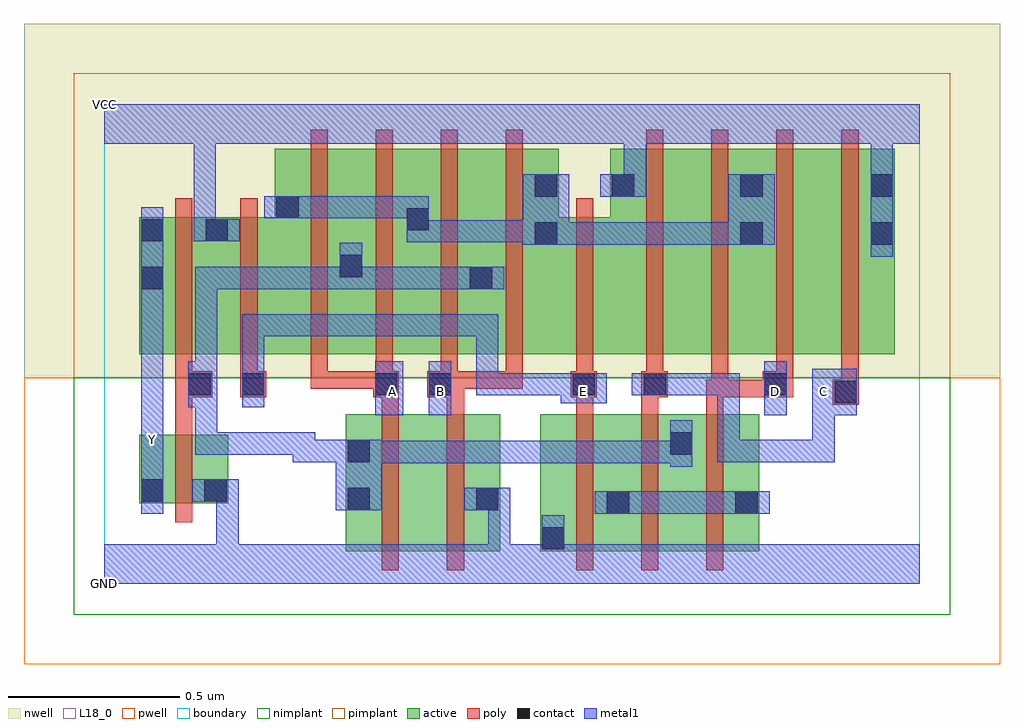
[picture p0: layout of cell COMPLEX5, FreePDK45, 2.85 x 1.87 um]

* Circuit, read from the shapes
.subckt COMPLEX5 A B C D E GND VCC Y
M1 GND n1 Y VSUBS nfet w=0.2u l=0.05u
M2 n2 A n1 VSUBS nfet w=0.4u l=0.05u
M3 GND B n2 VSUBS nfet w=0.4u l=0.05u
M4 n3 E GND VSUBS nfet w=0.4u l=0.05u
M5 n1 C n3 VSUBS nfet w=0.4u l=0.05u
M6 n3 D n1 VSUBS nfet w=0.4u l=0.05u
M7 VCC n1 Y n4 pfet w=0.4u l=0.05u
M8 n5 E VCC n4 pfet w=0.4u l=0.05u m=2
M9 n1 A n5 n4 pfet w=0.6u l=0.05u m=2
M10 n1 B n5 n4 pfet w=0.6u l=0.05u m=2
M11 n6 C VCC n4 pfet w=0.6u l=0.05u
M12 n5 D n6 n4 pfet w=0.6u l=0.05u
M13 n7 D n5 n4 pfet w=0.6u l=0.05u
M14 VCC C n7 n4 pfet w=0.6u l=0.05u
.ends

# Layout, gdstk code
import gdstk
lib = gdstk.Library(unit=1e-6, precision=1e-09)
def R(c, l, rs):  # rectangles x0, y0, x1, y1
    for r in rs: c.add(gdstk.rectangle(r[:2], r[2:], *l))
def A(c, l, x, y, w, h, nx, ny, dx, dy):  # array of equal rectangles
    R(c, l, [(x+i*dx, y+j*dy, x+i*dx+w, y+j*dy+h) for i in range(nx) for j in range(ny)])
active = (1, 0)
pwell = (2, 0)
nwell = (3, 0)
nimplant = (4, 0)
pimplant = (5, 0)
poly = (9, 0)
contact = (10, 0)
metal1 = (11, 0)
L18_0 = (18, 0)
boundary = (235, 0)

complex5 = lib.new_cell('COMPLEX5')
R(complex5, active, [(0.705,0.095,0.93,0.495), (0.93,0.095,1.155,0.495), (1.08,0.095,1.155,0.477), (1.272,0.095,1.537,0.495), (1.272,0.095,1.347,0.495), (1.462,0.095,1.722,0.495), (1.647,0.095,1.912,0.495), (0.705,0.147,0.81,0.495), (1.462,0.147,1.537,0.492), (1.647,0.147,1.722,0.492), (1.837,0.147,1.912,0.495), (0.102,0.235,0.177,0.435), (0.102,0.235,0.362,0.435), (0.287,0.235,0.362,0.435), (0.102,0.67,0.177,1.07), (0.102,0.67,0.365,1.07), (0.29,0.67,0.572,1.07), (0.497,0.67,0.757,1.27), (0.682,0.67,0.952,1.27), (0.877,0.67,1.137,1.27), (1.062,0.67,1.327,1.27), (1.252,0.67,1.552,1.07), (1.477,0.67,1.702,1.27), (1.702,0.67,1.927,1.27), (1.852,0.67,2.082,1.27), (2.082,0.67,2.307,1.27), (2.232,0.67,2.307,1.257), (0.682,0.707,0.757,1.07), (0.877,0.707,0.952,1.2), (1.062,0.707,1.137,1.07), (1.852,0.707,1.927,1.2), (1.477,0.802,1.552,1.27), (0.29,0.907,0.365,1.07), (0.497,0.907,0.572,1.2), (1.252,0.907,1.327,1.2)])
R(complex5, pwell, [(-0.235,-0.235,2.615,0.602)])
R(complex5, nwell, [(-0.235,0.602,2.615,1.635)])
R(complex5, nimplant, [(-0.09,-0.09,2.47,0.602)])
R(complex5, pimplant, [(-0.09,0.602,2.47,1.49)])
A(complex5, poly, 1.377, 0.04, 0.05, 0.51, 3, 1, 0.19, 0)
A(complex5, poly, 1.377, 0.5, 0.05, 0.095, 3, 1, 0.19, 0)
A(complex5, poly, 0.602, 0.57, 0.05, 0.095, 4, 1, 0.19, 0)
A(complex5, poly, 0.602, 0.615, 0.05, 0.71, 4, 1, 0.19, 0)
A(complex5, poly, 1.582, 0.615, 0.05, 0.71, 4, 1, 0.19, 0)
R(complex5, poly, [(0.81,0.04,0.86,0.55), (1,0.04,1.05,0.55), (0.207,0.18,0.257,0.49), (0.207,0.44,0.257,0.595), (0.81,0.5,0.86,0.595), (1,0.5,1.05,0.595), (2.127,0.522,2.202,0.597), (0.207,0.545,0.315,0.62), (0.397,0.545,0.472,0.62), (0.785,0.545,0.86,0.62), (0.942,0.545,1.05,0.62), (1.362,0.545,1.437,0.62), (1.567,0.545,1.645,0.62), (1.757,0.545,1.822,0.595), (1.772,0.545,1.972,0.595), (1.772,0.545,1.822,0.665), (1.922,0.545,1.972,0.595), (1.922,0.545,1.972,0.595), (1.922,0.545,2.012,0.62), (2.152,0.547,2.202,0.665), (0.207,0.57,0.257,0.665), (0.397,0.57,0.447,0.665), (0.602,0.57,0.652,0.62), (0.602,0.57,0.652,0.62), (0.602,0.57,0.652,0.62), (0.602,0.57,0.835,0.62), (1,0.57,1.05,0.62), (1,0.57,1.05,0.62), (1,0.57,1.222,0.62), (1.172,0.57,1.222,0.62), (1.377,0.57,1.427,0.665), (1.582,0.57,1.632,0.665), (1.962,0.57,2.012,0.665), (0.207,0.615,0.257,1.125), (0.397,0.615,0.447,1.125), (1.377,0.615,1.427,1.125)])
R(complex5, contact, [(1.277,0.1,1.342,0.165), (1.467,0.205,1.532,0.27), (1.842,0.205,1.907,0.27), (0.71,0.215,0.775,0.28), (1.085,0.215,1.15,0.28), (0.107,0.24,0.172,0.305), (0.292,0.24,0.357,0.305), (0.71,0.355,0.775,0.42), (1.652,0.377,1.717,0.442), (2.132,0.527,2.197,0.592), (0.245,0.55,0.31,0.615), (0.402,0.55,0.467,0.615), (0.79,0.55,0.855,0.615), (0.947,0.55,1.012,0.615), (1.367,0.55,1.432,0.615), (1.575,0.55,1.64,0.615), (1.927,0.55,1.992,0.615), (0.107,0.86,0.172,0.925), (1.067,0.86,1.132,0.925), (0.687,0.895,0.752,0.96), (1.257,0.99,1.322,1.055), (1.857,0.99,1.922,1.055), (2.237,0.99,2.302,1.055), (0.107,1,0.172,1.065), (0.295,1,0.36,1.065), (0.882,1.032,0.947,1.097), (0.502,1.067,0.567,1.132), (1.257,1.13,1.322,1.195), (1.482,1.13,1.547,1.195), (1.857,1.13,1.922,1.195), (2.237,1.13,2.302,1.195)])
R(complex5, metal1, [(0,0,2.38,0.115), (0.327,0.05,0.392,0.115), (0.327,0.05,0.392,0.115), (0.327,0.05,0.392,0.115), (0.327,0.05,0.392,0.115), (0.327,0.05,0.392,0.305), (1.12,0.05,1.185,0.28), (1.277,0.05,1.342,0.13), (1.277,0.065,1.342,0.2), (0.107,0.205,0.172,0.34), (1.432,0.205,1.567,0.27), (1.502,0.205,1.705,0.27), (1.64,0.205,1.705,0.27), (1.64,0.205,1.705,0.27), (1.64,0.205,1.705,0.27), (1.64,0.205,1.855,0.27), (1.79,0.205,1.855,0.27), (1.79,0.205,1.872,0.27), (1.807,0.205,1.942,0.27), (0.675,0.215,0.81,0.42), (1.05,0.215,1.185,0.28), (0.257,0.24,0.392,0.305), (0.107,0.275,0.172,0.417), (1.652,0.342,1.717,0.477), (0.107,0.352,0.172,0.487), (0.745,0.352,0.81,0.417), (0.745,0.352,0.81,0.417), (0.745,0.352,0.96,0.417), (0.895,0.352,0.96,0.417), (0.895,0.352,0.97,0.417), (0.905,0.352,0.97,0.417), (0.905,0.352,1.15,0.417), (1.085,0.352,1.15,0.417), (1.085,0.352,1.15,0.417), (1.085,0.352,1.15,0.417), (1.085,0.352,1.36,0.417), (1.295,0.352,1.36,0.417), (1.295,0.352,1.36,0.417), (1.295,0.352,1.36,0.417), (1.295,0.352,1.497,0.417), (1.432,0.352,1.497,0.417), (1.432,0.352,1.497,0.417), (1.432,0.352,1.497,0.417), (1.432,0.352,1.717,0.417), (0.55,0.355,0.74,0.42), (0.55,0.355,0.615,0.442), (1.79,0.355,1.855,0.42), (1.79,0.355,1.995,0.42), (1.79,0.355,1.855,0.615), (1.93,0.355,1.995,0.42), (1.93,0.355,2.132,0.42), (2.067,0.355,2.132,0.42), (2.067,0.355,2.132,0.557), (0.265,0.377,0.33,0.442), (0.265,0.377,0.467,0.442), (0.265,0.377,0.33,0.65), (0.402,0.377,0.467,0.442), (0.402,0.377,0.467,0.442), (0.402,0.377,0.467,0.442), (0.402,0.377,0.615,0.442), (0.107,0.422,0.172,0.89), (0.79,0.492,0.872,0.65), (0.947,0.492,1.012,0.65), (1.927,0.492,1.992,0.65), (2.067,0.492,2.132,0.557), (2.067,0.492,2.132,0.557), (2.067,0.492,2.197,0.627), (0.245,0.515,0.31,0.65), (0.402,0.515,0.467,0.65), (1.332,0.527,1.467,0.615), (1.085,0.55,1.15,0.615), (1.085,0.55,1.15,0.615), (1.085,0.55,1.15,0.615), (1.085,0.55,1.287,0.615), (1.085,0.55,1.15,0.787), (1.222,0.55,1.287,0.615), (1.222,0.55,1.397,0.615), (1.54,0.55,1.675,0.615), (1.61,0.55,1.717,0.615), (1.652,0.55,1.717,0.615), (1.652,0.55,1.855,0.615), (1.79,0.55,1.855,0.615), (1.79,0.55,1.855,0.615), (1.79,0.55,1.855,0.615), (0.245,0.585,0.33,0.65), (0.265,0.585,0.33,0.65), (0.265,0.585,0.33,0.925), (0.402,0.585,0.467,0.65), (0.402,0.585,0.467,0.65), (0.402,0.585,0.467,0.787), (0.402,0.722,0.467,0.787), (0.402,0.722,0.615,0.787), (0.55,0.722,0.615,0.787), (0.55,0.722,0.752,0.787), (0.687,0.722,0.752,0.787), (0.687,0.722,0.752,0.787), (0.687,0.722,0.752,0.787), (0.687,0.722,0.947,0.787), (0.882,0.722,0.947,0.787), (0.882,0.722,1.012,0.787), (0.947,0.722,1.012,0.787), (0.947,0.722,1.15,0.787), (1.085,0.722,1.15,0.787), (0.107,0.825,0.172,1.1), (0.265,0.86,0.33,0.925), (0.265,0.86,0.33,0.925), (0.265,0.86,0.33,0.925), (0.265,0.86,0.467,0.925), (0.402,0.86,0.467,0.925), (0.402,0.86,0.467,0.925), (0.402,0.86,0.467,0.925), (0.402,0.86,0.615,0.925), (0.55,0.86,0.615,0.925), (0.55,0.86,0.752,0.925), (0.687,0.86,0.752,0.925), (0.687,0.86,0.752,0.925), (0.687,0.86,0.752,0.995), (0.687,0.86,0.96,0.925), (0.895,0.86,0.96,0.925), (0.895,0.86,0.96,0.925), (0.895,0.86,0.96,0.925), (0.895,0.86,1.097,0.925), (1.032,0.86,1.167,0.925), (2.237,0.955,2.302,1.23), (1.222,0.99,1.357,1.195), (1.292,0.99,1.357,1.055), (1.292,0.99,1.357,1.055), (1.292,0.99,1.357,1.055), (1.292,0.99,1.357,1.055), (1.292,0.99,1.357,1.055), (1.292,0.99,1.357,1.055), (1.292,0.99,1.497,1.055), (1.432,0.99,1.497,1.055), (1.432,0.99,1.717,1.055), (1.652,0.99,1.717,1.055), (1.652,0.99,1.717,1.055), (1.652,0.99,1.717,1.055), (1.652,0.99,1.855,1.055), (1.79,0.99,1.855,1.055), (1.79,0.99,1.887,1.055), (1.822,0.99,1.957,1.195), (0.882,0.997,0.947,1.062), (0.882,0.997,0.947,1.062), (0.882,0.997,0.947,1.132), (0.882,0.997,1.15,1.062), (1.085,0.997,1.15,1.062), (1.085,0.997,1.15,1.062), (1.085,0.997,1.15,1.062), (1.085,0.997,1.287,1.062), (0.26,1,0.325,1.065), (0.26,1,0.325,1.065), (0.26,1,0.395,1.065), (0.26,1,0.325,1.35), (0.467,1.067,0.602,1.132), (0.537,1.067,0.605,1.132), (0.54,1.067,0.605,1.132), (0.54,1.067,0.752,1.132), (0.687,1.067,0.752,1.132), (0.687,1.067,0.752,1.132), (0.687,1.067,0.752,1.132), (0.687,1.067,0.947,1.132), (1.447,1.13,1.582,1.195), (1.517,1.13,1.582,1.35), (2.237,1.165,2.302,1.35), (0,1.285,2.38,1.4)])
R(complex5, L18_0, [(0,0,2.38,0.115), (0.327,0.05,0.392,0.115), (0.327,0.05,0.392,0.115), (0.327,0.05,0.392,0.115), (0.327,0.05,0.392,0.115), (0.327,0.05,0.392,0.305), (1.12,0.05,1.185,0.28), (1.277,0.05,1.342,0.13), (1.277,0.065,1.342,0.2), (0.107,0.205,0.172,0.34), (1.05,0.215,1.185,0.28), (0.257,0.24,0.392,0.305), (0.107,0.275,0.172,0.417), (0.107,0.352,0.172,0.487), (1.79,0.355,1.855,0.42), (1.79,0.355,1.855,0.615), (1.79,0.355,1.995,0.42), (1.93,0.355,1.995,0.42), (1.93,0.355,2.132,0.42), (2.067,0.355,2.132,0.42), (2.067,0.355,2.132,0.557), (0.107,0.387,0.172,0.452), (0.107,0.422,0.172,0.89), (0.79,0.492,0.872,0.65), (0.947,0.492,1.012,0.65), (1.927,0.492,1.992,0.65), (2.067,0.492,2.132,0.557), (2.067,0.492,2.132,0.557), (2.067,0.492,2.197,0.627), (0.402,0.515,0.467,0.65), (0.807,0.527,0.872,0.592), (0.947,0.527,1.012,0.592), (1.332,0.527,1.467,0.615), (1.367,0.527,1.432,0.592), (1.927,0.527,1.992,0.592), (2.067,0.527,2.132,0.592), (1.085,0.55,1.15,0.615), (1.085,0.55,1.15,0.615), (1.085,0.55,1.15,0.615), (1.085,0.55,1.287,0.615), (1.085,0.55,1.15,0.787), (1.222,0.55,1.287,0.615), (1.222,0.55,1.397,0.615), (1.54,0.55,1.675,0.615), (1.61,0.55,1.717,0.615), (1.652,0.55,1.717,0.615), (1.652,0.55,1.855,0.615), (1.79,0.55,1.855,0.615), (1.79,0.55,1.855,0.615), (1.79,0.55,1.855,0.615), (0.402,0.585,0.467,0.65), (0.402,0.585,0.467,0.65), (0.402,0.585,0.467,0.787), (0.402,0.722,0.467,0.787), (0.402,0.722,0.615,0.787), (0.55,0.722,0.615,0.787), (0.55,0.722,0.752,0.787), (0.687,0.722,0.752,0.787), (0.687,0.722,0.752,0.787), (0.687,0.722,0.752,0.787), (0.687,0.722,0.947,0.787), (0.882,0.722,0.947,0.787), (0.882,0.722,1.012,0.787), (0.947,0.722,1.012,0.787), (0.947,0.722,1.15,0.787), (1.085,0.722,1.15,0.787), (0.107,0.825,0.172,1.1), (2.237,0.955,2.302,1.23), (0.26,1,0.325,1.065), (0.26,1,0.325,1.065), (0.26,1,0.395,1.065), (0.26,1,0.325,1.35), (1.447,1.13,1.582,1.195), (1.517,1.13,1.582,1.35), (2.237,1.165,2.302,1.35), (0,1.285,2.38,1.4)])
R(complex5, boundary, [(0,0,2.38,1.4)])
complex5.add(gdstk.Label('A', (0.84,0.56), layer=11, texttype=0))
complex5.add(gdstk.Label('B', (0.98,0.56), layer=11, texttype=0))
complex5.add(gdstk.Label('C', (2.1,0.56), layer=11, texttype=0))
complex5.add(gdstk.Label('D', (1.96,0.56), layer=11, texttype=0))
complex5.add(gdstk.Label('E', (1.4,0.56), layer=11, texttype=0))
complex5.add(gdstk.Label('Y', (0.14,0.42), layer=11, texttype=0))
complex5.add(gdstk.Label('VCC', (0,1.4), layer=11, texttype=0))
complex5.add(gdstk.Label('GND', (0,0), layer=11, texttype=0))

lib.write_gds('COMPLEX5.gds')
